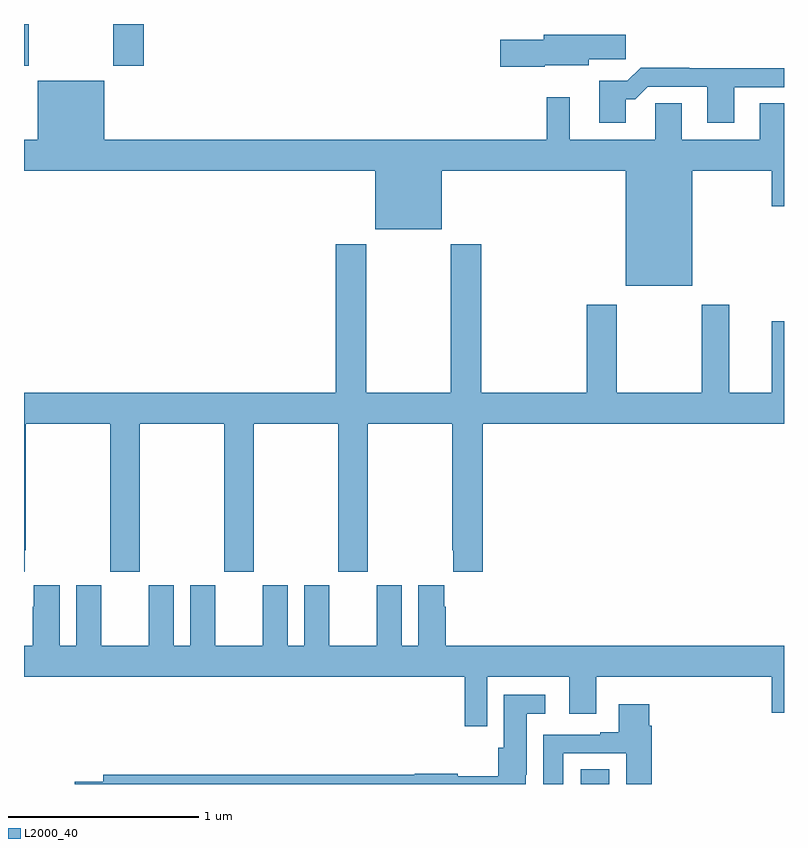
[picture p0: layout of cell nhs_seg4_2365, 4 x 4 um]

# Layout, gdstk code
import gdstk
lib = gdstk.Library(unit=1e-6, precision=1e-09)
def R(c, l, rs):  # rectangles x0, y0, x1, y1
    for r in rs: c.add(gdstk.rectangle(r[:2], r[2:], *l))
def P(c, l, *ps):  # polygons
    for p in ps: c.add(gdstk.Polygon(p, *l))
L2000_40 = (2000, 40)

nhs_seg4_2365 = lib.new_cell('nhs_seg4_2365')
R(nhs_seg4_2365, L2000_40, [(235.931,818.9,236.08,818.978), (233,822.681,233.025,822.9), (233.47,822.681,233.63,822.9)])
P(nhs_seg4_2365, L2000_40, [(235.74,822.683),(235.972,822.683),(235.972,822.715),(236.167,822.715),(236.167,822.844),(235.736,822.844),(235.736,822.818),(235.506,822.818),(235.506,822.676),(235.74,822.676)],
  [(236.167,822.503),(236.216,822.503),(236.283,822.57),(236.597,822.57),(236.597,822.381),(236.737,822.381),(236.737,822.567),(237,822.567),(237,822.668),(236.501,822.668),(236.501,822.671),(236.246,822.671),(236.176,822.601),(236.027,822.601),(236.027,822.381),(236.167,822.381)],
  [(236.518,822.128),(236.936,822.128),(236.936,821.94),(237,821.94),(237,822.482),(236.873,822.482),(236.873,822.292),(236.461,822.292),(236.461,822.482),(236.322,822.482),(236.322,822.292),(235.873,822.292),(235.873,822.514),(235.752,822.514),(235.752,822.292),(233.422,822.292),(233.422,822.601),(233.072,822.601),(233.072,822.292),(233,822.292),(233,822.128),(234.848,822.128),(234.848,821.819),(235.198,821.819),(235.198,822.128),(236.168,822.128),(236.168,821.522),(236.518,821.522)],
  [(233.005,820.129),(233.01,820.129),(233.01,820.796),(233.455,820.796),(233.455,820.017),(233.61,820.017),(233.61,820.796),(234.055,820.796),(234.055,820.017),(234.21,820.017),(234.21,820.796),(234.655,820.796),(234.655,820.017),(234.81,820.017),(234.81,820.796),(235.255,820.796),(235.255,820.129),(235.259,820.129),(235.259,820.017),(235.415,820.017),(235.415,820.796),(237,820.796),(237,821.335),(236.936,821.335),(236.936,820.96),(236.713,820.96),(236.713,821.422),(236.566,821.422),(236.566,820.96),(236.121,820.96),(236.121,821.422),(235.961,821.422),(235.961,820.96),(235.406,820.96),(235.406,821.74),(235.246,821.74),(235.246,820.96),(234.801,820.96),(234.801,821.74),(234.641,821.74),(234.641,820.96),(233,820.96),(233,820.017),(233.005,820.017)],
  [(235.437,819.464),(235.871,819.464),(235.871,819.27),(236.011,819.27),(236.011,819.464),(236.936,819.464),(236.936,819.276),(237,819.276),(237,819.628),(235.22,819.628),(235.22,819.833),(235.213,819.833),(235.213,819.946),(235.076,819.946),(235.076,819.628),(234.988,819.628),(234.988,819.946),(234.857,819.946),(234.857,819.628),(234.607,819.628),(234.607,819.946),(234.476,819.946),(234.476,819.628),(234.388,819.628),(234.388,819.946),(234.257,819.946),(234.257,819.628),(234.007,819.628),(234.007,819.946),(233.876,819.946),(233.876,819.628),(233.788,819.628),(233.788,819.946),(233.657,819.946),(233.657,819.628),(233.407,819.628),(233.407,819.946),(233.276,819.946),(233.276,819.628),(233.188,819.628),(233.188,819.946),(233.051,819.946),(233.051,819.833),(233.045,819.833),(233.045,819.628),(233,819.628),(233,819.464),(235.321,819.464),(235.321,819.204),(235.437,819.204)],
  [(235.641,818.95),(235.645,818.95),(235.645,819.269),(235.744,819.269),(235.744,819.37),(235.526,819.37),(235.526,819.09),(235.496,819.09),(235.496,818.941),(235.284,818.941),(235.284,818.954),(235.056,818.954),(235.056,818.948),(233.417,818.948),(233.417,818.912),(233.268,818.912),(233.268,818.9),(235.641,818.9)],
  [(235.837,819.063),(236.171,819.063),(236.171,818.9),(236.303,818.9),(236.303,819.206),(236.29,819.206),(236.29,819.319),(236.129,819.319),(236.129,819.172),(236.033,819.172),(236.033,819.159),(235.733,819.159),(235.733,818.9),(235.837,818.9)])

lib.write_gds('nhs_seg4_2365.gds')
